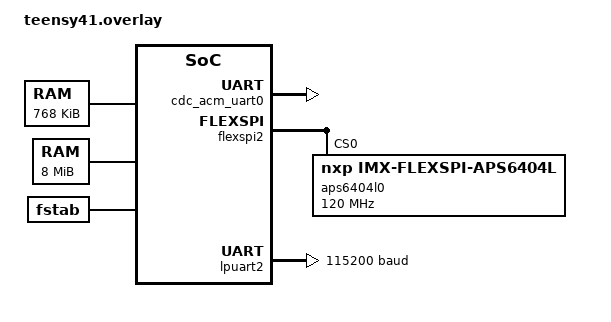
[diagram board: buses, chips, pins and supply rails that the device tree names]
/*
 * PJRC Teensy 4.1 for DoomFlight
 *
 * - USB CDC ACM is the console and the F Prime downlink/uplink (Zephyr.ZephyrUartDriver) and touch reset UART
 * - Native ENET Ethernet (PJRC Ethernet kit) is enabled by the board devicetree
 * - APS6404L PSRAM soldered on the bottom PSRAM pads (CS0), memory mapped by FlexSPI2 at 0x70000000
 * - The second FlexSPI2 pad (CS1) is unpopulated (READ_ID answers zeros); the DOOM WAD lives in a LittleFS partition
 *   in the upper 6.75 MB of the 8 MB W25Q64 program flash, which the XIP-safe FlexSPI NOR driver programs from ITCM
 */

&zephyr_udc0 {
	cdc_acm_uart0: cdc_acm_uart0 {
		compatible = "zephyr,cdc-acm-uart";
	};
};

/ {
	chosen {
		zephyr,code-partition = &slot0_partition;
		zephyr,console = &cdc_acm_uart0;
		zephyr,shell-uart = &cdc_acm_uart0;
		/* F Prime ground link: XBee on Serial3 with RTS/CTS (Main.cpp falls back to CDC ACM without it) */
		doom,ground-uart = &lpuart2;
		zephyr,sram = &sram;
	};

	/* OCRAM2 (512 KB at 0x20200000) and FlexRAM OCRAM (256 KB at 0x20280000, fuse default bank split) are
	 * contiguous, so Zephyr uses them as one 768 KB RAM region for data, stacks and the malloc heap.
	 */
	sram: memory@20200000 {
		compatible = "mmio-sram";
		reg = <0x20200000 DT_SIZE_K(768)>;
	};

	/* PSRAM linker region: DoomFlight/PsramHeap.c carves its heap from it and DoomFlight/psram_sections.ld links the
	 * DoomEngine instance into it. Available once FlexSPI2 is up (POST_KERNEL, CONFIG_MEMC_INIT_PRIORITY).
	 */
	psram: memory@70000000 {
		compatible = "zephyr,memory-region", "mmio-sram";
		reg = <0x70000000 DT_SIZE_M(8)>;
		zephyr,memory-region = "PSRAM";
	};

	fstab {
		compatible = "zephyr,fstab";

		/* WAD filesystem, formatted on first mount. Os::File opens paths under /lfs through the Zephyr fs API */
		lfs: lfs {
			compatible = "zephyr,fstab,littlefs";
			mount-point = "/lfs";
			partition = <&wad_partition>;
			automount;
			read-size = <16>;
			prog-size = <16>;
			cache-size = <256>;
			lookahead-size = <32>;
			block-cycles = <512>;
		};
	};
};

&pinctrl {
	/* Teensy 4.1 PSRAM pads: GPIO_EMC_22 (CS1), 23 (DQS), 24 (CS0), 25 (SCLK), 26-29 (DATA0-3) */
	pinmux_flexspi2: pinmux_flexspi2 {
		group0 {
			pinmux = <&iomuxc_gpio_emc_23_flexspi2_a_dqs>;
			drive-strength = "r0-6";
			input-schmitt-enable;
			slew-rate = "fast";
			nxp,speed = "200-mhz";
			input-enable;
		};

		group1 {
			pinmux = <&iomuxc_gpio_emc_22_flexspi2_a_ss1_b>,
				 <&iomuxc_gpio_emc_24_flexspi2_a_ss0_b>;
			drive-strength = "r0-6";
			slew-rate = "fast";
			nxp,speed = "200-mhz";
			bias-pull-up;
			bias-pull-up-value = "100k";
			input-schmitt-enable;
			input-enable;
		};

		group2 {
			pinmux = <&iomuxc_gpio_emc_25_flexspi2_a_sclk>;
			drive-strength = "r0-6";
			slew-rate = "fast";
			nxp,speed = "200-mhz";
			input-schmitt-enable;
			input-enable;
		};

		group3 {
			pinmux = <&iomuxc_gpio_emc_26_flexspi2_a_data0>,
				 <&iomuxc_gpio_emc_27_flexspi2_a_data1>,
				 <&iomuxc_gpio_emc_28_flexspi2_a_data2>,
				 <&iomuxc_gpio_emc_29_flexspi2_a_data3>;
			drive-strength = "r0-6";
			slew-rate = "fast";
			nxp,speed = "200-mhz";
			bias-pull-up;
			bias-pull-up-value = "47k";
			input-schmitt-enable;
			input-enable;
		};
	};
};

&flexspi2 {
	status = "okay";
	reg = <0x402a4000 0x4000>, <0x70000000 DT_SIZE_M(16)>;
	pinctrl-0 = <&pinmux_flexspi2>;
	pinctrl-names = "default";
	rx-clock-source = <1>;

	/* First chip (small pads, CS0): required */
	aps6404l0: aps6404l@0 {
		compatible = "nxp,imx-flexspi-aps6404l";
		/* APS6404L is 8MB, 64MBit pSRAM */
		size = <DT_SIZE_M(8 * 8)>;
		reg = <0>;
		/* FlexSPI2 root clock is PLL3 PFD0 / 8 = 90 MHz and the memc driver only divides it by an integer,
		 * rounding down: 88 MHz would select /2 = 45 MHz on the bus. 90 MHz runs the APS6404L (133 MHz part)
		 * at the full root clock with SERCLKDIV = /1.
		 */
		spi-max-frequency = <DT_FREQ_M(120)>;
		status = "okay";
		cs-interval-unit = <1>;
		cs-interval = <2>;
		cs-hold-time = <3>;
		cs-setup-time = <3>;
		data-valid-time = <6>;
		column-space = <0>;
		ahb-write-wait-unit = <2>;
		ahb-write-wait-interval = <0>;
	};
};

/* Program flash: the firmware is linked into the first 1 MB (zephyr,code-partition; the image is ~0.7 MB) so it can
 * never grow into the WAD filesystem partition. That partition takes the rest of the range teensy_loader_cli programs
 * on a Teensy 4.1 (0x000000..0x7C0000; it rejects HEX records at or above 0x7C0000, so the top 256 KB is unusable), i.e.
 * 6912 KiB: the shareware doom1.wad (4 MB) plus ~2.7 MB for WADs uploaded over fileUplink. A pre-built LittleFS image
 * (doom-satellite-merge-wad, tools/doom-satellite-tools) is flashed together with the firmware.
 */
&w25q64jvxgim {
	partitions {
		compatible = "fixed-partitions";
		#address-cells = <1>;
		#size-cells = <1>;

		slot0_partition: partition@0 {
			label = "image-0";
			reg = <0x00000000 DT_SIZE_K(1024)>;
		};

		wad_partition: partition@100000 {
			label = "wad";
			reg = <0x00100000 DT_SIZE_K(6912)>;
		};
	};
};

/* Covered by the combined sram node */
&ocram {
	compatible = "mmio-sram";
	/delete-property/ zephyr,memory-region;
};

&ocram2 {
	compatible = "mmio-sram";
	/delete-property/ zephyr,memory-region;
};

/* XBee on Serial3 (LPUART2): TX pin 14, RX pin 15, CTS pin 19 (AD_B1_00), RTS pin 18 (AD_B1_01) */
&pinctrl {
	pinmux_lpuart2_flow: pinmux_lpuart2_flow {
		group0 {
			pinmux = <&iomuxc_gpio_ad_b1_03_lpuart2_rx>,
				 <&iomuxc_gpio_ad_b1_02_lpuart2_tx>,
				 <&iomuxc_gpio_ad_b1_00_lpuart2_cts_b>,
				 <&iomuxc_gpio_ad_b1_01_lpuart2_rts_b>;
			drive-strength = "r0-6";
			slew-rate = "slow";
			nxp,speed = "100-mhz";
		};
	};
};

&lpuart2 {
	status = "okay";
	current-speed = <115200>;
	pinctrl-0 = <&pinmux_lpuart2>;
	pinctrl-1 = <&pinmux_lpuart2_flow>;
	pinctrl-2 = <&pinmux_lpuart2_sleep>;
	/* "flowcontrol" must precede "sleep" or the pinctrl state table does not compile */
	pinctrl-names = "default", "flowcontrol", "sleep";
};
